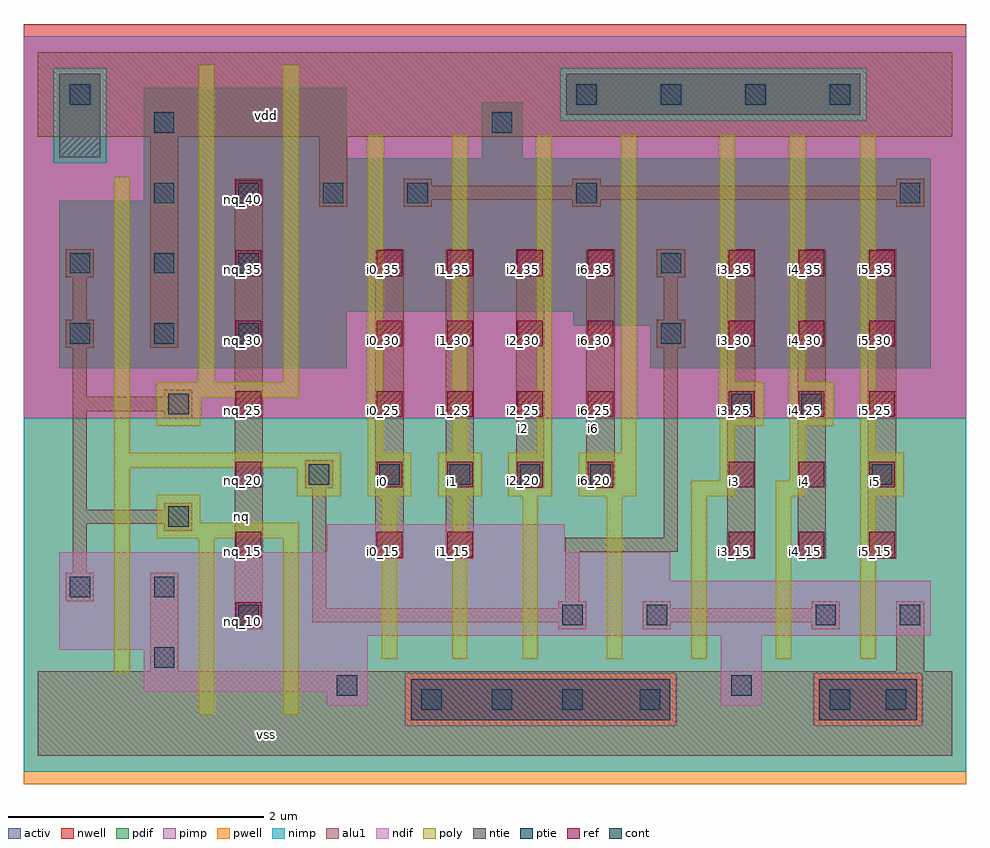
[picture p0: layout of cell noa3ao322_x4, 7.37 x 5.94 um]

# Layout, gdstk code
import gdstk
lib = gdstk.Library(unit=1e-6, precision=2.5e-09)
def R(c, l, rs):  # rectangles x0, y0, x1, y1
    for r in rs: c.add(gdstk.rectangle(r[:2], r[2:], *l))
def A(c, l, x, y, w, h, nx, ny, dx, dy):  # array of equal rectangles
    R(c, l, [(x+i*dx, y+j*dy, x+i*dx+w, y+j*dy+h) for i in range(nx) for j in range(ny)])
ndif = (3, 0)
pdif = (4, 0)
ntie = (5, 0)
ptie = (6, 0)
ref = (24, 0)
cont = (25, 0)
pwell = (41, 0)
nwell = (42, 0)
activ = (43, 0)
pimp = (44, 0)
nimp = (45, 0)
poly = (46, 0)
alu1 = (49, 0)

noa3ao322_x4 = lib.new_cell('noa3ao322_x4')
R(noa3ao322_x4, ndif, [(2.26,0.39,2.58,0.5), (2.26,0.39,2.58,0.5), (5.34,0.39,5.66,0.94), (5.34,0.39,5.66,0.94), (0.83,0.5,2.58,0.83), (0.83,0.5,2.58,0.83), (0.17,0.83,2.58,0.94), (0.17,0.83,2.58,0.94), (0.17,0.94,6.98,1.37), (0.17,0.94,6.98,1.37), (0.17,1.37,4.945,1.59), (0.17,1.37,4.945,1.59), (2.26,1.59,4.12,1.81), (2.26,1.59,4.12,1.81)])
R(noa3ao322_x4, pdif, [(0.17,3.03,2.415,3.47), (0.17,3.03,2.415,3.47), (4.79,3.03,6.98,3.36), (4.79,3.03,6.98,3.36), (4.185,3.36,6.98,3.47), (4.185,3.36,6.98,3.47), (0.17,3.47,6.98,4.34), (0.17,3.47,6.98,4.34), (0.83,4.34,6.98,4.67), (0.83,4.34,6.98,4.67), (0.83,4.67,2.415,5.22), (0.83,4.67,2.415,5.22), (3.47,4.67,3.79,5.11), (3.47,4.67,3.79,5.11)])
R(noa3ao322_x4, ntie, [(0.17,4.68,0.49,5.33), (0.17,4.68,0.49,5.33), (4.13,5.01,6.43,5.33), (4.13,5.01,6.43,5.33)])
R(noa3ao322_x4, ptie, [(2.92,0.28,4.945,0.6), (2.92,0.28,4.945,0.6), (6.11,0.28,6.87,0.6), (6.11,0.28,6.87,0.6)])
A(noa3ao322_x4, ref, 1.55, 1, 0.2, 0.2, 1, 7, 0, 0.55)
A(noa3ao322_x4, ref, 5.4, 1.55, 0.2, 0.2, 3, 5, 0.55, 0.55)
A(noa3ao322_x4, ref, 2.65, 2.1, 0.2, 0.2, 4, 4, 0.55, 0.55)
R(noa3ao322_x4, ref, [(2.65,1.55,2.85,1.75), (3.2,1.55,3.4,1.75)])
A(noa3ao322_x4, cont, 3, 0.36, 0.16, 0.16, 3, 1, 0.55, 0)
A(noa3ao322_x4, cont, 2.12, 2.12, 0.16, 0.16, 5, 1, 0.55, 0)
A(noa3ao322_x4, cont, 0.25, 3.22, 0.16, 0.16, 3, 2, 0.66, 0.55)
A(noa3ao322_x4, cont, 0.91, 4.32, 0.16, 0.16, 4, 1, 0.66, 0)
A(noa3ao322_x4, cont, 4.21, 5.09, 0.16, 0.16, 4, 1, 0.66, 0)
R(noa3ao322_x4, cont, [(4.705,0.36,4.865,0.52), (6.19,0.36,6.35,0.52), (6.63,0.36,6.79,0.52), (2.34,0.47,2.5,0.63), (5.42,0.47,5.58,0.63), (0.91,0.69,1.07,0.85), (1.57,1.02,1.73,1.18), (4.1,1.02,4.26,1.18), (4.76,1.02,4.92,1.18), (6.08,1.02,6.24,1.18), (6.74,1.02,6.9,1.18), (0.25,1.24,0.41,1.4), (0.91,1.24,1.07,1.4), (1.02,1.79,1.18,1.95), (6.52,2.12,6.68,2.28), (1.02,2.67,1.18,2.83), (5.42,2.67,5.58,2.83), (5.97,2.67,6.13,2.83), (4.87,3.22,5.03,3.38), (4.87,3.77,5.03,3.93), (4.21,4.32,4.37,4.48), (6.74,4.32,6.9,4.48), (0.91,4.87,1.07,5.03), (3.55,4.87,3.71,5.03), (0.25,5.09,0.41,5.25)])
R(noa3ao322_x4, pwell, [(-0.11,-0.22,7.26,2.64)])
R(noa3ao322_x4, nwell, [(-0.11,2.64,7.26,5.72)])
R(noa3ao322_x4, activ, [(2.92,0.28,4.945,0.6), (2.92,0.28,4.945,0.6), (6.11,0.28,6.87,0.6), (6.11,0.28,6.87,0.6), (2.26,0.39,2.58,0.5), (2.26,0.39,2.58,0.5), (5.34,0.39,5.66,0.94), (5.34,0.39,5.66,0.94), (0.83,0.5,2.58,0.83), (0.83,0.5,2.58,0.83), (0.17,0.83,2.58,0.94), (0.17,0.83,2.58,0.94), (0.17,0.94,6.98,1.37), (0.17,0.94,6.98,1.37), (0.17,1.37,4.945,1.59), (0.17,1.37,4.945,1.59), (2.26,1.59,4.12,1.81), (2.26,1.59,4.12,1.81), (0.17,3.03,2.415,3.47), (0.17,3.03,2.415,3.47), (4.79,3.03,6.98,3.36), (4.79,3.03,6.98,3.36), (4.185,3.36,6.98,3.47), (4.185,3.36,6.98,3.47), (0.17,3.47,6.98,4.34), (0.17,3.47,6.98,4.34), (0.83,4.34,6.98,4.67), (0.83,4.34,6.98,4.67), (0.83,4.67,2.415,5.22), (0.83,4.67,2.415,5.22), (3.47,4.67,3.79,5.11), (3.47,4.67,3.79,5.11), (0.17,4.68,0.49,5.33), (0.17,4.68,0.49,5.33), (4.13,5.01,6.43,5.33), (4.13,5.01,6.43,5.33)])
R(noa3ao322_x4, pimp, [(2.875,0.235,4.99,0.645), (6.065,0.235,6.915,0.645), (-0.11,2.64,7.26,4.635), (-0.11,4.635,0.125,5.375), (0.535,4.635,7.26,4.965), (0.535,4.965,4.085,5.375), (6.475,4.965,7.26,5.375), (-0.11,5.375,7.26,5.625)])
R(noa3ao322_x4, nimp, [(-0.11,-0.125,7.26,0.235), (-0.11,0.235,2.875,0.645), (4.99,0.235,6.065,0.645), (6.915,0.235,7.26,0.645), (-0.11,0.645,7.26,2.64), (0.125,4.635,0.535,5.375), (4.085,4.965,6.475,5.375)])
A(noa3ao322_x4, poly, 2.69, 0.76, 0.12, 1.27, 3, 1, 0.55, 0)
A(noa3ao322_x4, poly, 4.45, 0.76, 0.12, 1.27, 4, 1, 0.66, 0)
A(noa3ao322_x4, poly, 2.58, 2.03, 0.34, 0.34, 3, 1, 0.55, 0)
A(noa3ao322_x4, poly, 2.58, 2.37, 0.12, 2.48, 4, 1, 0.66, 0)
R(noa3ao322_x4, poly, [(1.26,0.32,1.38,1.7), (1.92,0.32,2.04,1.7), (0.6,0.65,0.72,2.25), (0.93,1.7,2.04,1.82), (0.93,1.82,1.27,2.04), (2.03,2.03,2.37,2.25), (4.23,2.03,4.68,2.37), (5.11,2.03,5.45,2.15), (5.77,2.03,6,2.15), (6.43,2.03,6.77,2.37), (5.33,2.15,5.45,2.58), (5.88,2.15,6,2.58), (0.6,2.25,2.37,2.37), (0.6,2.37,0.72,4.52), (6.43,2.37,6.55,4.85), (0.93,2.58,1.27,2.8), (5.33,2.58,5.67,2.92), (5.88,2.58,6.22,2.92), (0.93,2.8,2.04,2.92), (1.26,2.92,1.38,5.4), (1.92,2.92,2.04,5.4), (5.33,2.92,5.45,4.85), (5.88,2.92,6,4.85)])
A(noa3ao322_x4, alu1, 5.39, 1.54, 0.22, 2.42, 3, 1, 0.55, 0)
R(noa3ao322_x4, alu1, [(0,0,7.15,0.66), (0.88,0.66,1.1,1.43), (6.71,0.66,6.93,1.21), (1.54,0.99,1.76,4.51), (4.07,0.99,4.29,1.045), (4.73,0.99,4.95,1.045), (6.05,0.99,6.27,1.045), (2.145,1.045,4.29,1.155), (4.73,1.045,6.27,1.155), (2.145,1.155,2.255,2.09), (4.07,1.155,4.29,1.21), (4.73,1.155,4.95,1.21), (6.05,1.155,6.27,1.21), (0.22,1.21,0.44,1.43), (4.125,1.21,4.235,1.595), (0.275,1.43,0.385,1.815), (2.64,1.54,2.86,3.96), (3.19,1.54,3.41,3.96), (4.125,1.595,5.005,1.705), (4.895,1.705,5.005,3.19), (0.99,1.76,1.21,1.815), (0.275,1.815,1.21,1.925), (0.275,1.925,0.385,2.695), (0.99,1.925,1.21,1.98), (2.09,2.09,2.31,2.31), (3.74,2.09,3.96,3.96), (4.29,2.09,4.51,3.96), (0.99,2.64,1.21,2.695), (0.275,2.695,1.21,2.805), (0.275,2.805,0.385,3.19), (0.99,2.805,1.21,2.86), (0.22,3.19,0.44,3.41), (0.88,3.19,1.1,4.84), (4.84,3.19,5.06,3.41), (0.275,3.41,0.385,3.74), (4.895,3.41,5.005,3.74), (0.22,3.74,0.44,3.96), (4.84,3.74,5.06,3.96), (2.2,4.29,2.42,4.84), (2.86,4.29,3.08,4.345), (4.18,4.29,4.4,4.345), (6.71,4.29,6.93,4.345), (2.86,4.345,6.93,4.455), (2.86,4.455,3.08,4.51), (4.18,4.455,4.4,4.51), (6.71,4.455,6.93,4.51), (0,4.84,7.15,5.5)])
noa3ao322_x4.add(gdstk.Label('vss', (1.7875,0.165), layer=49, texttype=0))
noa3ao322_x4.add(gdstk.Label('i5', (6.545,2.145), layer=49, texttype=0))
noa3ao322_x4.add(gdstk.Label('i4', (5.995,2.145), layer=49, texttype=0))
noa3ao322_x4.add(gdstk.Label('i3', (5.445,2.145), layer=49, texttype=0))
noa3ao322_x4.add(gdstk.Label('i6', (4.345,2.5575), layer=49, texttype=0))
noa3ao322_x4.add(gdstk.Label('i2', (3.795,2.5575), layer=49, texttype=0))
noa3ao322_x4.add(gdstk.Label('i1', (3.245,2.145), layer=49, texttype=0))
noa3ao322_x4.add(gdstk.Label('i0', (2.695,2.145), layer=49, texttype=0))
noa3ao322_x4.add(gdstk.Label('nq', (1.595,1.87), layer=49, texttype=0))
noa3ao322_x4.add(gdstk.Label('vdd', (1.7875,5.005), layer=49, texttype=0))
noa3ao322_x4.add(gdstk.Label('nq_30', (1.6,3.25), layer=24, texttype=0))
noa3ao322_x4.add(gdstk.Label('nq_25', (1.6,2.7), layer=24, texttype=0))
noa3ao322_x4.add(gdstk.Label('nq_20', (1.6,2.15), layer=24, texttype=0))
noa3ao322_x4.add(gdstk.Label('nq_15', (1.6,1.6), layer=24, texttype=0))
noa3ao322_x4.add(gdstk.Label('nq_10', (1.6,1.05), layer=24, texttype=0))
noa3ao322_x4.add(gdstk.Label('nq_40', (1.6,4.35), layer=24, texttype=0))
noa3ao322_x4.add(gdstk.Label('i0_35', (2.7,3.8), layer=24, texttype=0))
noa3ao322_x4.add(gdstk.Label('i3_35', (5.45,3.8), layer=24, texttype=0))
noa3ao322_x4.add(gdstk.Label('i5_25', (6.55,2.7), layer=24, texttype=0))
noa3ao322_x4.add(gdstk.Label('i5_30', (6.55,3.25), layer=24, texttype=0))
noa3ao322_x4.add(gdstk.Label('i5_35', (6.55,3.8), layer=24, texttype=0))
noa3ao322_x4.add(gdstk.Label('i0_15', (2.7,1.6), layer=24, texttype=0))
noa3ao322_x4.add(gdstk.Label('i0_20', (2.7,2.15), layer=24, texttype=0))
noa3ao322_x4.add(gdstk.Label('i0_25', (2.7,2.7), layer=24, texttype=0))
noa3ao322_x4.add(gdstk.Label('i0_30', (2.7,3.25), layer=24, texttype=0))
noa3ao322_x4.add(gdstk.Label('i3_30', (5.45,3.25), layer=24, texttype=0))
noa3ao322_x4.add(gdstk.Label('i4_15', (6,1.6), layer=24, texttype=0))
noa3ao322_x4.add(gdstk.Label('i4_20', (6,2.15), layer=24, texttype=0))
noa3ao322_x4.add(gdstk.Label('i4_25', (6,2.7), layer=24, texttype=0))
noa3ao322_x4.add(gdstk.Label('i4_30', (6,3.25), layer=24, texttype=0))
noa3ao322_x4.add(gdstk.Label('i4_35', (6,3.8), layer=24, texttype=0))
noa3ao322_x4.add(gdstk.Label('i5_15', (6.55,1.6), layer=24, texttype=0))
noa3ao322_x4.add(gdstk.Label('i5_20', (6.55,2.15), layer=24, texttype=0))
noa3ao322_x4.add(gdstk.Label('i3_15', (5.45,1.6), layer=24, texttype=0))
noa3ao322_x4.add(gdstk.Label('i3_20', (5.45,2.15), layer=24, texttype=0))
noa3ao322_x4.add(gdstk.Label('i3_25', (5.45,2.7), layer=24, texttype=0))
noa3ao322_x4.add(gdstk.Label('i2_25', (3.8,2.7), layer=24, texttype=0))
noa3ao322_x4.add(gdstk.Label('i2_30', (3.8,3.25), layer=24, texttype=0))
noa3ao322_x4.add(gdstk.Label('i2_35', (3.8,3.8), layer=24, texttype=0))
noa3ao322_x4.add(gdstk.Label('i6_20', (4.35,2.15), layer=24, texttype=0))
noa3ao322_x4.add(gdstk.Label('i6_25', (4.35,2.7), layer=24, texttype=0))
noa3ao322_x4.add(gdstk.Label('i6_30', (4.35,3.25), layer=24, texttype=0))
noa3ao322_x4.add(gdstk.Label('i6_35', (4.35,3.8), layer=24, texttype=0))
noa3ao322_x4.add(gdstk.Label('i1_15', (3.25,1.6), layer=24, texttype=0))
noa3ao322_x4.add(gdstk.Label('i1_20', (3.25,2.15), layer=24, texttype=0))
noa3ao322_x4.add(gdstk.Label('i1_25', (3.25,2.7), layer=24, texttype=0))
noa3ao322_x4.add(gdstk.Label('i1_30', (3.25,3.25), layer=24, texttype=0))
noa3ao322_x4.add(gdstk.Label('i1_35', (3.25,3.8), layer=24, texttype=0))
noa3ao322_x4.add(gdstk.Label('nq_35', (1.6,3.8), layer=24, texttype=0))
noa3ao322_x4.add(gdstk.Label('i2_20', (3.8,2.15), layer=24, texttype=0))

lib.write_gds('noa3ao322_x4.gds')
